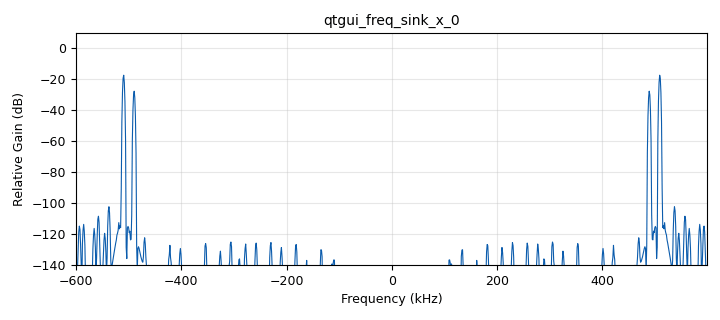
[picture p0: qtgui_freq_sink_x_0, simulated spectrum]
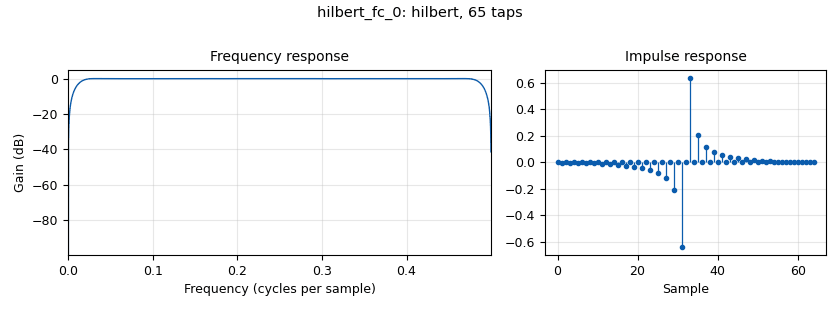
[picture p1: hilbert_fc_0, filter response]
options:
  parameters:
    author: pranav
    generate_options: qt_gui
    id: p3
    output_language: python
    title: Not titled yet
  states: {}

blocks:
- name: quadrature_rate
  id: variable
  parameters:
    value: 1200e3
  states: {}
- name: samp_rate
  id: variable
  parameters:
    value: '48000'
  states: {}
- name: blocks_complex_to_imag_0
  id: blocks_complex_to_imag
  parameters: {}
  states: {}
- name: blocks_complex_to_real_0
  id: blocks_complex_to_real
  parameters: {}
  states: {state: disabled}
- name: blocks_multiply_xx_0
  id: blocks_multiply_xx
  parameters:
    type: complex
  states: {}
- name: blocks_throttle_0
  id: blocks_throttle
  parameters:
    samples_per_second: quadrature_rate
    type: float
  states: {}
- name: hilbert_fc_0
  id: hilbert_fc
  parameters:
    num_taps: '65'
    win: firdes.WIN_HAMMING
  states: {}
- name: message
  id: analog_sig_source_x
  parameters:
    amp: '1'
    freq: '10000'
    offset: '0'
    phase: '0'
    samp_rate: samp_rate
    type: float
    waveform: analog.GR_COS_WAVE
  states: {}
- name: message_0_0
  id: analog_sig_source_x
  parameters:
    amp: '1'
    freq: 500e3
    offset: '0'
    phase: '0'
    samp_rate: quadrature_rate
    type: complex
    waveform: analog.GR_COS_WAVE
  states: {}
- name: qtgui_freq_sink_x_0
  id: qtgui_freq_sink_x
  parameters:
    bw: quadrature_rate
    fc: '0'
    fftsize: '1024'
    type: float
    wintype: firdes.WIN_BLACKMAN_hARRIS
  states: {}
- name: rational_resampler_xxx_0
  id: rational_resampler_xxx
  parameters:
    decim: '48'
    fbw: '0.4'
    interp: '1200'
    taps: ''
    type: fff
  states: {}

connections:
- [blocks_complex_to_imag_0, '0', blocks_throttle_0, '0']
- [blocks_complex_to_real_0, '0', blocks_throttle_0, '0']
- [blocks_multiply_xx_0, '0', blocks_complex_to_imag_0, '0']
- [blocks_multiply_xx_0, '0', blocks_complex_to_real_0, '0']
- [blocks_throttle_0, '0', qtgui_freq_sink_x_0, '0']
- [hilbert_fc_0, '0', blocks_multiply_xx_0, '0']
- [message, '0', rational_resampler_xxx_0, '0']
- [message_0_0, '0', blocks_multiply_xx_0, '1']
- [rational_resampler_xxx_0, '0', hilbert_fc_0, '0']

metadata:
  file_format: 1
